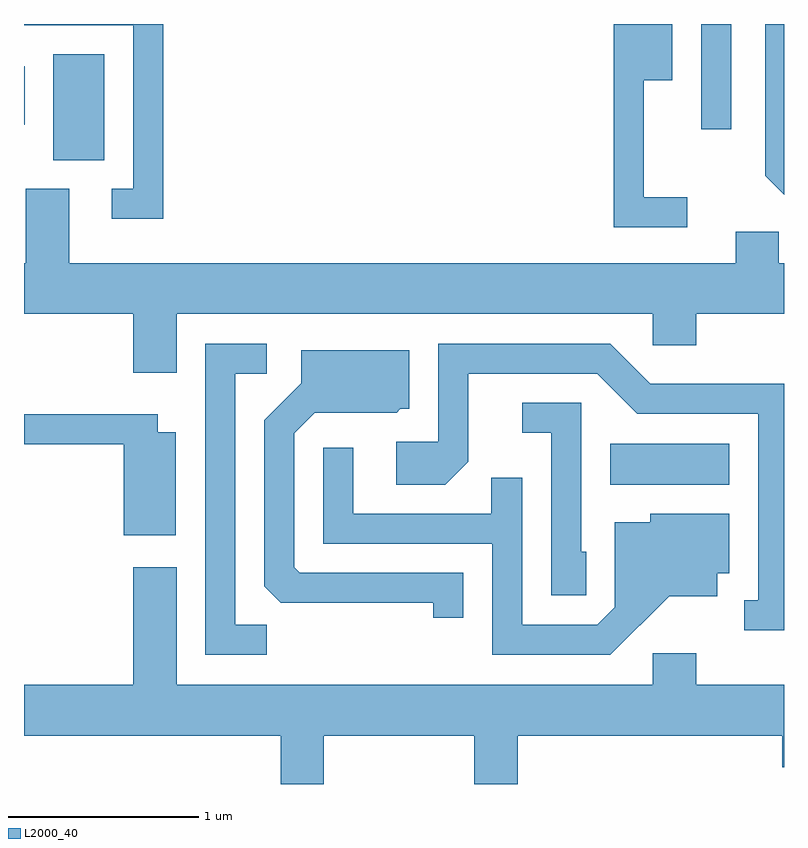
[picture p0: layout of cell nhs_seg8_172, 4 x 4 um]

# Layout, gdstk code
import gdstk
lib = gdstk.Library(unit=1e-6, precision=1e-09)
def R(c, l, rs):  # rectangles x0, y0, x1, y1
    for r in rs: c.add(gdstk.rectangle(r[:2], r[2:], *l))
def P(c, l, *ps):  # polygons
    for p in ps: c.add(gdstk.Polygon(p, *l))
L2000_40 = (2000, 40)

nhs_seg8_172 = lib.new_cell('nhs_seg8_172')
R(nhs_seg8_172, L2000_40, [(192.696,1879.916,193.324,1880.134), (189.766,1881.626,190.034,1882.184), (193.176,1881.788,193.334,1882.342), (189.611,1881.811,189.614,1882.119)])
P(nhs_seg8_172, L2000_40, [(193.103,1881.429),(192.874,1881.429),(192.874,1882.046),(193.024,1882.046),(193.024,1882.342),(192.716,1882.342),(192.716,1881.271),(193.103,1881.271)],
  [(190.344,1882.342),(189.611,1882.342),(189.611,1882.336),(190.186,1882.336),(190.186,1881.474),(190.073,1881.474),(190.073,1881.316),(190.344,1881.316)],
  [(193.611,1882.342),(193.511,1882.342),(193.511,1881.544),(193.611,1881.444)],
  [(190.414,1880.816),(192.921,1880.816),(192.921,1880.651),(193.149,1880.651),(193.149,1880.816),(193.611,1880.816),(193.611,1881.084),(193.584,1881.084),(193.584,1881.249),(193.356,1881.249),(193.356,1881.084),(189.849,1881.084),(189.849,1881.474),(189.621,1881.474),(189.621,1881.084),(189.611,1881.084),(189.611,1880.816),(190.186,1880.816),(190.186,1880.506),(190.414,1880.506)],
  [(190.888,1879.179),(190.724,1879.179),(190.724,1880.501),(190.888,1880.501),(190.888,1880.659),(190.566,1880.659),(190.566,1879.021),(190.888,1879.021)],
  [(193.611,1880.449),(192.907,1880.449),(192.697,1880.659),(191.791,1880.659),(191.791,1880.144),(191.571,1880.144),(191.571,1879.916),(191.827,1879.916),(191.949,1880.039),(191.949,1880.501),(192.629,1880.501),(192.839,1880.291),(193.476,1880.291),(193.476,1879.309),(193.403,1879.309),(193.403,1879.151),(193.611,1879.151)],
  [(191.924,1879.454),(191.062,1879.454),(191.034,1879.482),(191.034,1880.189),(191.142,1880.296),(191.572,1880.296),(191.592,1880.316),(191.639,1880.316),(191.639,1880.624),(191.071,1880.624),(191.071,1880.452),(190.876,1880.257),(190.876,1879.382),(190.962,1879.296),(191.766,1879.296),(191.766,1879.218),(191.924,1879.218)],
  [(192.569,1879.564),(192.544,1879.564),(192.544,1880.349),(192.233,1880.349),(192.233,1880.191),(192.386,1880.191),(192.386,1879.336),(192.569,1879.336)],
  [(190.409,1880.194),(190.314,1880.194),(190.314,1880.289),(189.611,1880.289),(189.611,1880.131),(190.136,1880.131),(190.136,1879.651),(190.409,1879.651)],
  [(193.007,1879.331),(193.259,1879.331),(193.259,1879.451),(193.324,1879.451),(193.324,1879.764),(192.906,1879.764),(192.906,1879.719),(192.721,1879.719),(192.721,1879.272),(192.629,1879.179),(192.234,1879.179),(192.234,1879.953),(192.071,1879.953),(192.071,1879.764),(191.344,1879.764),(191.344,1880.113),(191.186,1880.113),(191.186,1879.606),(192.076,1879.606),(192.076,1879.021),(192.697,1879.021)],
  [(191.189,1878.596),(191.981,1878.596),(191.981,1878.342),(192.209,1878.342),(192.209,1878.596),(193.601,1878.596),(193.601,1878.431),(193.611,1878.431),(193.611,1878.864),(193.149,1878.864),(193.149,1879.029),(192.921,1879.029),(192.921,1878.864),(190.414,1878.864),(190.414,1879.484),(190.186,1879.484),(190.186,1878.864),(189.611,1878.864),(189.611,1878.596),(190.961,1878.596),(190.961,1878.342),(191.189,1878.342)])

lib.write_gds('nhs_seg8_172.gds')
